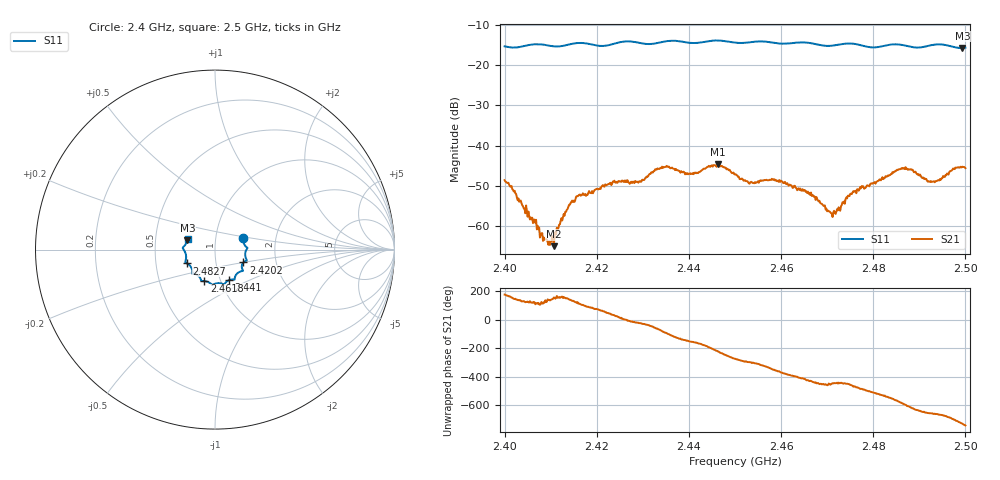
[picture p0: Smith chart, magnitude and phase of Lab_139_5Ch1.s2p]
# Hz S RI R 50
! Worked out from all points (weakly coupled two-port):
!   601 points, 2.4 GHz to 2.5 GHz, reference 50 ohm
!   highest |S21| = -44.66 dB at 2.4463 GHz (marker M1); lowest = -65.0 dB at 2.4107 GHz (marker M2)
!   lowest |S11| = -15.8 dB at 2.4993 GHz (marker M3), VSWR 1.39, Z = 36.5 + j3.84 ohm
!   |S11| at or under -10 dB: start of sweep to end of sweep
!   S12 and S22 are empty: the file has one direction only
!   S11 on the Smith chart (normalised r, x): 2.4 GHz: 1.36, +0.18; 2.4202 GHz: 1.36, -0.20; 2.441 GHz: 1.10, -0.39; 2.4618 GHz: 0.84, -0.30; 2.4827 GHz: 0.72, -0.12; 2.5 GHz: 0.73, +0.09
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2.4e9  0.1583 0.0628  -0.00372 0.000148  0 0  0 0
2.408167e9  0.1792 0.00619  -0.000378 0.000728  0 0  0 0
2.410667e9  0.1697 -0.0131  -0.00052 0.00022  0 0  0 0
2.414167e9  0.1734 -0.0504  -0.00144 0.00116  0 0  0 0
2.416667e9  0.1774 -0.0606  -0.000672 0.00231  0 0  0 0
2.420167e9  0.1583 -0.0715  0.000789 0.00279  0 0  0 0
2.429167e9  0.1439 -0.1212  0.00328 -0.00143  0 0  0 0
2.433333e9  0.1118 -0.151  0.00206 -0.00473  0 0  0 0
2.441e9  0.0783 -0.1699  -0.00407 -0.00172  0 0  0 0
2.446333e9  0.0494 -0.1951  -0.00428 0.00398  0 0  0 0
2.45e9  0.0283 -0.1871  0.000278 0.00438  0 0  0 0
2.453333e9  -0.00308 -0.1915  0.0017 0.00307  0 0  0 0
2.461833e9  -0.0593 -0.1755  0.00291 -0.00155  0 0  0 0
2.466667e9  -0.0783 -0.1681  0.000731 -0.00225  0 0  0 0
2.471333e9  -0.1075 -0.1372  6.96e-05 -0.00147  0 0  0 0
2.4755e9  -0.1272 -0.1327  -0.000641 -0.00254  0 0  0 0
2.482667e9  -0.1562 -0.0773  -0.00417 -8.57e-05  0 0  0 0
2.483333e9  -0.1605 -0.0754  -0.00419 0.000458  0 0  0 0
2.486833e9  -0.1632 -0.061  -0.00286 0.00423  0 0  0 0
2.493167e9  -0.1783 0.00517  0.00187 0.00307  0 0  0 0
2.499333e9  -0.1539 0.0512  0.00539 -0.000931  0 0  0 0
2.5e9  -0.1522 0.0609  0.00484 -0.00204  0 0  0 0
